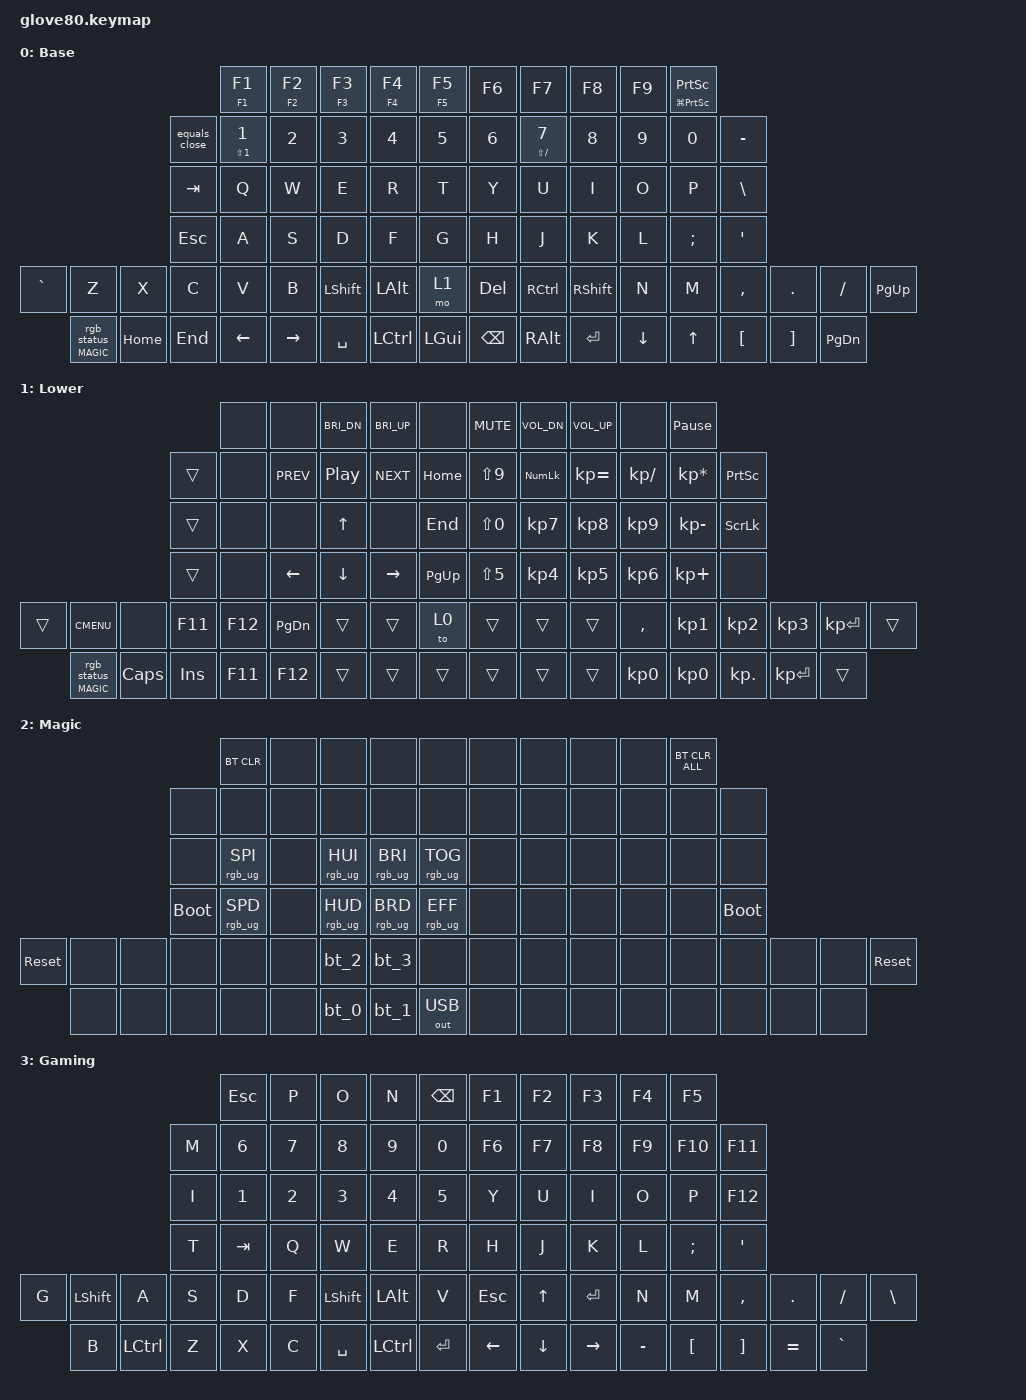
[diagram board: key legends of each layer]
/* Personal layout in MoErgo's 80-key physical order. */
#include <behaviors/key_press.dtsi>
#include <behaviors/transparent.dtsi>
#include <behaviors/none.dtsi>
#include <behaviors/mod_tap.dtsi>
#include <behaviors/momentary_layer.dtsi>
#include <behaviors/toggle_layer.dtsi>
#include <behaviors/to_layer.dtsi>
#include <behaviors/reset.dtsi>
#include <behaviors/rgb_underglow.dtsi>
#include <behaviors/bluetooth.dtsi>
#include <behaviors/outputs.dtsi>
#include <behaviors/macros.dtsi>
#include <dt-bindings/zmk/keys.h>
#include <dt-bindings/zmk/bt.h>
#include <dt-bindings/zmk/outputs.h>
#include <dt-bindings/zmk/rgb.h>

#define BASE 0
#define LOWER 1
#define MAGIC 2
#define GAMING 3

/ {
    behaviors {
        equals_close: equals_close {
            compatible = "zmk,behavior-tap-dance";
            #binding-cells = <0>;
            tapping-term-ms = <250>;
            bindings = <&kp EQUAL>, <&kp LA(F4)>;
        };
        // MoErgo's Magic: tap for indicators, hold for the control layer.
        magic: magic_hold_tap {
            compatible = "zmk,behavior-hold-tap";
            #binding-cells = <2>;
            flavor = "tap-preferred";
            tapping-term-ms = <200>;
            bindings = <&mo>, <&rgb_status>;
        };
        // ZMK's default mod-tap timing/flavor, with a one-shot macro on hold.
        workspace_hold: workspace_hold {
            compatible = "zmk,behavior-hold-tap";
            #binding-cells = <2>;
            flavor = "hold-preferred";
            tapping-term-ms = <200>;
            bindings = <&workspace_shortcut>, <&kp>;
        };
    };

    macros {
        ZMK_MACRO(rgb_status,
            bindings = <&rgb_ug RGB_STATUS>;
        )
        // Finish the whole shortcut on press; holding the key does not repeat it.
        ZMK_MACRO1(workspace_shortcut,
            wait-ms = <0>;
            bindings = <&macro_press &kp LGUI>,
                       <&macro_param_1to1>,
                       <&macro_tap &kp MACRO_PLACEHOLDER>,
                       <&macro_release &kp LGUI>;
        )
        ZMK_MACRO(bt_0,
            wait-ms = <0>;
            bindings = <&out OUT_BLE>, <&bt BT_SEL 0>;
        )
        ZMK_MACRO(bt_1,
            wait-ms = <0>;
            bindings = <&out OUT_BLE>, <&bt BT_SEL 1>;
        )
        ZMK_MACRO(bt_2,
            wait-ms = <0>;
            bindings = <&out OUT_BLE>, <&bt BT_SEL 2>;
        )
        ZMK_MACRO(bt_3,
            wait-ms = <0>;
            bindings = <&out OUT_BLE>, <&bt BT_SEL 3>;
        )
    };

    combos {
        compatible = "zmk,combos";
        gaming_toggle_0 {
            timeout-ms = <50>;
            key-positions = <51 68>;
            layers = <0>;
            bindings = <&tog GAMING>;
        };
        gaming_toggle_3 {
            timeout-ms = <50>;
            key-positions = <51 68>;
            layers = <3>;
            bindings = <&tog GAMING>;
        };
    };

    keymap {
        compatible = "zmk,keymap";
        base_layer {
            label = "Base";
            bindings = <
                &workspace_hold F1 F1  &workspace_hold F2 F2  &workspace_hold F3 F3  &workspace_hold F4 F4  &workspace_hold F5 F5  &kp F6  &kp F7  &kp F8  &kp F9  &mt LG(PSCRN) PSCRN
                &equals_close  &mt LS(N1) N1  &kp N2  &kp N3  &kp N4  &kp N5  &kp N6  &mt LS(FSLH) N7  &kp N8  &kp N9  &kp N0  &kp MINUS
                &kp TAB  &kp Q  &kp W  &kp E  &kp R  &kp T  &kp Y  &kp U  &kp I  &kp O  &kp P  &kp BSLH
                &kp ESC  &kp A  &kp S  &kp D  &kp F  &kp G  &kp H  &kp J  &kp K  &kp L  &kp SEMI  &kp SQT
                &kp GRAVE  &kp Z  &kp X  &kp C  &kp V  &kp B  &kp LSHFT  &kp LALT  &mo 1  &kp DEL  &kp RCTRL  &kp RSHFT  &kp N  &kp M  &kp COMMA  &kp DOT  &kp FSLH  &kp PG_UP
                &magic MAGIC 0  &kp HOME  &kp END  &kp LEFT  &kp RIGHT  &kp SPACE  &kp LCTRL  &kp LGUI  &kp BSPC  &kp RALT  &kp RET  &kp DOWN  &kp UP  &kp LBKT  &kp RBKT  &kp PG_DN
            >;
        };
        lower_layer {
            label = "Lower";
            bindings = <
                &none  &none  &kp C_BRI_DN  &kp C_BRI_UP  &none  &kp C_MUTE  &kp C_VOL_DN  &kp C_VOL_UP  &none  &kp PAUSE_BREAK
                &trans  &none  &kp C_PREV  &kp C_PP  &kp C_NEXT  &kp HOME  &kp LS(N9)  &kp KP_NUM  &kp KP_EQUAL  &kp KP_DIVIDE  &kp KP_MULTIPLY  &kp PSCRN
                &trans  &none  &none  &kp UP  &none  &kp END  &kp LS(N0)  &kp KP_N7  &kp KP_N8  &kp KP_N9  &kp KP_MINUS  &kp SLCK
                &trans  &none  &kp LEFT  &kp DOWN  &kp RIGHT  &kp PG_UP  &kp LS(N5)  &kp KP_N4  &kp KP_N5  &kp KP_N6  &kp KP_PLUS  &none
                &trans  &kp K_CMENU  &none  &kp F11  &kp F12  &kp PG_DN  &trans  &trans  &to 0  &trans  &trans  &trans  &kp COMMA  &kp KP_N1  &kp KP_N2  &kp KP_N3  &kp KP_ENTER  &trans
                &magic MAGIC 0  &kp CAPS  &kp INS  &kp F11  &kp F12  &trans  &trans  &trans  &trans  &trans  &trans  &kp KP_N0  &kp KP_N0  &kp KP_DOT  &kp KP_ENTER  &trans
            >;
        };
        magic_layer {
            label = "Magic";
            bindings = <
                &bt BT_CLR  &none  &none  &none  &none  &none  &none  &none  &none  &bt BT_CLR_ALL
                &none  &none  &none  &none  &none  &none  &none  &none  &none  &none  &none  &none
                &none  &rgb_ug RGB_SPI  &none  &rgb_ug RGB_HUI  &rgb_ug RGB_BRI  &rgb_ug RGB_TOG  &none  &none  &none  &none  &none  &none
                &bootloader  &rgb_ug RGB_SPD  &none  &rgb_ug RGB_HUD  &rgb_ug RGB_BRD  &rgb_ug RGB_EFF  &none  &none  &none  &none  &none  &bootloader
                &sys_reset  &none  &none  &none  &none  &none  &bt_2  &bt_3  &none  &none  &none  &none  &none  &none  &none  &none  &none  &sys_reset
                &none  &none  &none  &none  &none  &bt_0  &bt_1  &out OUT_USB  &none  &none  &none  &none  &none  &none  &none  &none
            >;
        };
        gaming_layer {
            label = "Gaming";
            bindings = <
                &kp ESC  &kp P  &kp O  &kp N  &kp BSPC  &kp F1  &kp F2  &kp F3  &kp F4  &kp F5
                &kp M  &kp N6  &kp N7  &kp N8  &kp N9  &kp N0  &kp F6  &kp F7  &kp F8  &kp F9  &kp F10  &kp F11
                &kp I  &kp N1  &kp N2  &kp N3  &kp N4  &kp N5  &kp Y  &kp U  &kp I  &kp O  &kp P  &kp F12
                &kp T  &kp TAB  &kp Q  &kp W  &kp E  &kp R  &kp H  &kp J  &kp K  &kp L  &kp SEMI  &kp SQT
                &kp G  &kp LSHFT  &kp A  &kp S  &kp D  &kp F  &kp LSHFT  &kp LALT  &kp V  &kp ESC  &kp UP  &kp RET  &kp N  &kp M  &kp COMMA  &kp DOT  &kp FSLH  &kp BSLH
                &kp B  &kp LCTRL  &kp Z  &kp X  &kp C  &kp SPACE  &kp LCTRL  &kp RET  &kp LEFT  &kp DOWN  &kp RIGHT  &kp MINUS  &kp LBKT  &kp RBKT  &kp EQUAL  &kp GRAVE
            >;
        };
    };
};
